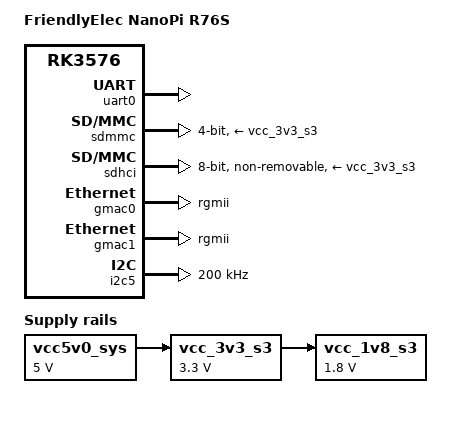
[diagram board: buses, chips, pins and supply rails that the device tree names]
// SPDX-License-Identifier: (GPL-2.0+ OR MIT)
/*
 * (C) Copyright 2025 FriendlyElec Computer Tech. Co., Ltd.
 * (http://www.friendlyelec.com)
 */

/dts-v1/;
#include "rk3576.dtsi"
#include "rk3576-u-boot.dtsi"

/ {
	model = "FriendlyElec NanoPi R76S";
	compatible = "friendlyelec,nanopi-r76s",
		     "rockchip,rk3576";

	chosen {
		u-boot,spl-boot-order = &sdmmc, &sdhci;
	};

	aliases {
		mmc0 = &sdmmc;
		mmc1 = &sdhci;
		ethernet0 = &gmac0;
		ethernet1 = &gmac1;
	};

	/* Basic power supplies for u-boot */
	vcc5v0_sys: vcc5v0-sys {
		compatible = "regulator-fixed";
		regulator-name = "vcc5v0_sys";
		regulator-always-on;
		regulator-boot-on;
		regulator-min-microvolt = <5000000>;
		regulator-max-microvolt = <5000000>;
	};

	vcc_3v3_s3: vcc-3v3-s3 {
		compatible = "regulator-fixed";
		regulator-name = "vcc_3v3_s3";
		regulator-always-on;
		regulator-boot-on;
		regulator-min-microvolt = <3300000>;
		regulator-max-microvolt = <3300000>;
		vin-supply = <&vcc5v0_sys>;
	};

	vcc_1v8_s3: vcc-1v8-s3 {
		compatible = "regulator-fixed";
		regulator-name = "vcc_1v8_s3";
		regulator-always-on;
		regulator-boot-on;
		regulator-min-microvolt = <1800000>;
		regulator-max-microvolt = <1800000>;
		vin-supply = <&vcc_3v3_s3>;
	};
};

/* UART for console output */
&uart0 {
	status = "okay";
};

/* SD card support for booting */
&sdmmc {
	status = "okay";
	max-frequency = <150000000>;
	no-sdio;
	no-mmc;
	bus-width = <4>;
	cap-mmc-highspeed;
	cap-sd-highspeed;
	disable-wp;
	sd-uhs-sdr104;
	vmmc-supply = <&vcc_3v3_s3>;
	vqmmc-supply = <&vcc_1v8_s3>;
};

/* eMMC support */
&sdhci {
	status = "okay";
	bus-width = <8>;
	no-sdio;
	no-sd;
	non-removable;
	max-frequency = <150000000>;
	mmc-hs400-1_8v;
	mmc-hs400-enhanced-strobe;
	vmmc-supply = <&vcc_3v3_s3>;
	vqmmc-supply = <&vcc_1v8_s3>;
};

/* Ethernet interfaces for router use case */
&gmac0 {
	status = "okay";
	phy-mode = "rgmii";
	clock_in_out = "output";
	assigned-clocks = <&cru CLK_GMAC0_PTP_REF>;
	assigned-clock-parents = <&cru CLK_GMAC0_PTP_REF>;
	assigned-clock-rates = <125000000>;
};

&gmac1 {
	status = "okay";
	phy-mode = "rgmii";
	clock_in_out = "output";
	assigned-clocks = <&cru CLK_GMAC1_PTP_REF>;
	assigned-clock-parents = <&cru CLK_GMAC1_PTP_REF>;
	assigned-clock-rates = <125000000>;
};

/* I2C for EEPROM access (MAC addresses) */
&i2c5 {
	status = "okay";
	clock-frequency = <200000>;
};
